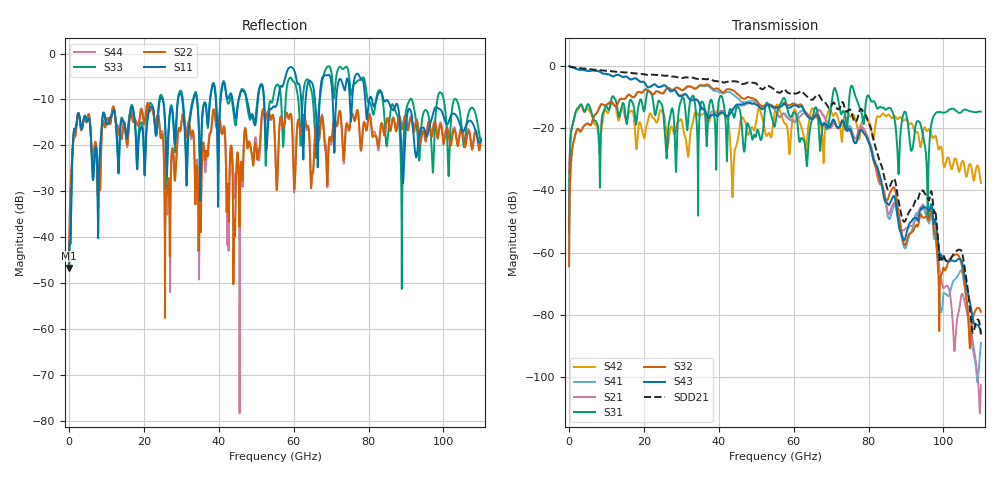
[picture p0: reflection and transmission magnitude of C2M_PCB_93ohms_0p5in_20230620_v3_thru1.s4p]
! Info: Touchstone file created by Circ.  Input file=C2M_PCB_93ohms_0p5in_20230620_v3.circ
# Hz S RI R 50
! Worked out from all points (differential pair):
!   11000 points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, 10 MHz to 110 GHz, reference 50 ohm
!   strongest paths, dB at 10 MHz, 27.51 GHz, 55.01 GHz, 82.51 GHz, 110 GHz:
!     S43: 0.0, -8.1, -13.4, -33.1, -85.7
!     S32: -64.4, -7.7, -13.0, -34.7, -79.0
!     S31: -53.5, -13.6, -19.1, -13.7, -14.7
!     S21: 0.0, -7.7, -14.0, -36.4, -102.6
!     S41: -64.4, -7.9, -14.2, -35.1, -89.0
!     S42: -53.3, -19.7, -14.4, -16.1, -37.6
!   taken as a pair (ports 3,1 in; 4,2 out), SDD21 dB: 0.0, -3.4, -7.7, -28.8, -86.3
!   lowest |S11| = -46.7 dB at 10 MHz (marker M1), VSWR 1.01, Z = 50.5 + j0.102 ohm
!   |S11| at or under -10 dB: start of sweep to 24.27 GHz; 24.98 GHz to 29.09 GHz (4.11 GHz wide, 15.2 % of centre); 83.99 GHz to end of sweep (the widest 3 of 15)
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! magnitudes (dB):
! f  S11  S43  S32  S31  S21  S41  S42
! 10 MHz  -46.7  0.0  -64.4  -53.5  0.0  -64.4  -53.3
! 2.09 GHz  -14.7  -1.0  -20.5  -13.8  -1.0  -20.5  -14.2
! 8.47 GHz  -18.9  -2.0  -12.4  -22.6  -2.0  -12.4  -22.5
! 36.99 GHz  -15.4  -16.4  -5.9  -19.5  -16.0  -6.3  -17.9
! 78.27 GHz  -5.6  -20.8  -20.7  -16.0  -19.5  -19.6  -17.7
! 95.65 GHz  -18.0  -45.8  -48.5  -37.1  -48.6  -49.5  -20.9
! 110 GHz  -18.8  -85.7  -79.0  -14.7  -102.6  -89.0  -37.6
